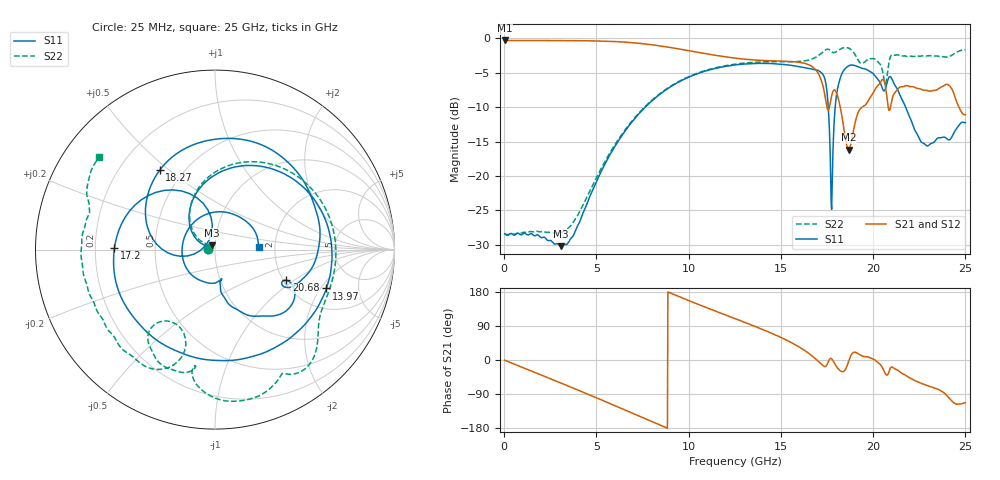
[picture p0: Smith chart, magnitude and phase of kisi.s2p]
! BV_vna_clk_w5: /FPGA/FPGA_CLK_R via F.Cu→In3.Cu at (180.401, 101.754)
! stackup: VNA from the board file and its kisi.json
! ports: 1 in, 2 out
! kisi-fdtd, conformal, dfine 0.035 mm (the cell at metal ÷ 2), 2553966 cells
# Hz S RI R 50
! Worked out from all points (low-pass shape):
!   1000 points, 25 MHz to 25 GHz, reference 50 ohm
!   highest |S21| = -0.33 dB at 25 MHz (marker M1); lowest = -16.2 dB at 18.68 GHz (marker M2)
!   |S21| within 3 dB of the highest: start of sweep to 14.93 GHz
!   lowest |S11| = -30.2 dB at 3.075 GHz (marker M3), VSWR 1.06, Z = 48.1 + j2.41 ohm
!   |S11| at or under -10 dB: start of sweep to 7.647 GHz; 17.57 GHz to 17.94 GHz (374.7 MHz wide, 2.11 % of centre); 21.76 GHz to end of sweep
!   |S22| runs from -28.5 to -1.4 dB; largest |S21 - S12| = 0.0032
!   S11 on the Smith chart (normalised r, x): 25 MHz: 0.93, +0.00; 13.97 GHz: 2.98, -2.27; 17.2 GHz: 0.28, +0.01; 18.27 GHz: 0.37, +0.46; 20.68 GHz: 2.07, -0.87; 25 GHz: 1.64, +0.06
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2.5e7  -0.0381 0.000826  0.9628 -0.00848  0.9625 -0.00834  -0.0378 0.00065
3.075e9  -0.0183 0.025  0.4683 -0.8381  0.4685 -0.8384  -0.0234 0.0312
4.2e9  -0.046 0.0215  0.1103 -0.9519  0.11 -0.9522  -0.0489 0.0327
6.05e9  -0.1316 0.105  -0.4933 -0.8059  -0.4934 -0.8057  -0.128 0.1158
8.35e9  -0.0475 0.3808  -0.869 -0.1583  -0.8689 -0.1584  -0.0593 0.3826
1.04e10  0.3104 0.4522  -0.6818 0.4069  -0.6817 0.407  0.2631 0.4859
1.2525e10  0.6243 0.1416  -0.2335 0.6775  -0.2333 0.6776  0.5845 0.2802
1.3975e10  0.6207 -0.2165  0.1049 0.6815  0.1052 0.6815  0.6716 0.0312
1.575e10  0.1721 -0.6047  0.5078 0.4432  0.5082 0.4429  0.6209 -0.2665
1.6675e10  -0.3581 -0.4784  0.6119 0.1229  0.6119 0.1235  0.5789 -0.4026
1.72e10  -0.5601 0.0083  0.4796 -0.0969  0.4796 -0.0976  0.5696 -0.5293
1.7475e10  -0.2831 0.3299  0.3167 -0.0815  0.3173 -0.0816  0.5202 -0.6463
1.775e10  -0.053 0.0219  0.3804 0.0203  0.3808 0.0209  0.3956 -0.6924
1.8275e10  -0.3081 0.4427  0.2487 -0.1438  0.2482 -0.1445  0.2847 -0.7913
1.8675e10  0.13 0.6167  0.1552 -0.00788  0.1544 -0.00795  0.0728 -0.8442
1.9475e10  0.5709 0.1889  0.3163 0.0531  0.3165 0.0541  -0.1084 -0.6535
2.0675e10  0.3978 -0.1712  0.3503 -0.2649  0.3504 -0.2662  -0.2136 -0.4173
2.085e10  0.443 -0.2692  0.2565 -0.1591  0.2563 -0.1577  -0.2049 -0.6218
2.2025e10  0.0447 -0.2564  0.2976 -0.3314  0.299 -0.3325  -0.6563 -0.343
2.405e10  -0.1834 -0.0156  -0.0536 -0.4578  -0.0513 -0.4565  -0.6993 0.2189
2.445e10  0.0372 0.2108  -0.1585 -0.3342  -0.1558 -0.3354  -0.7148 0.321
2.5e10  0.243 0.0168  -0.1066 -0.2573  -0.1085 -0.2547  -0.6461 0.5145
